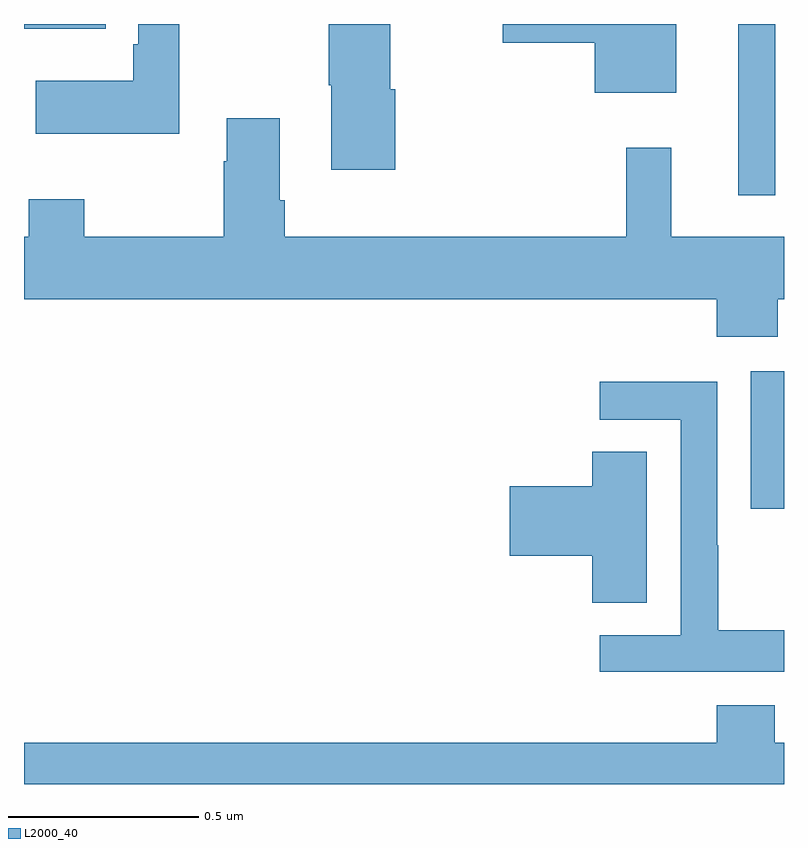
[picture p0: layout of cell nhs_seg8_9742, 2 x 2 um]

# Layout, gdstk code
import gdstk
lib = gdstk.Library(unit=1e-6, precision=1e-09)
def R(c, l, rs):  # rectangles x0, y0, x1, y1
    for r in rs: c.add(gdstk.rectangle(r[:2], r[2:], *l))
def P(c, l, *ps):  # polygons
    for p in ps: c.add(gdstk.Polygon(p, *l))
L2000_40 = (2000, 40)

nhs_seg8_9742 = lib.new_cell('nhs_seg8_9742')
R(nhs_seg8_9742, L2000_40, [(241.913,1106.625,242,1106.986), (241.88,1107.45,241.977,1107.9), (240,1107.887,240.215,1107.9)])
P(nhs_seg8_9742, L2000_40, [(240.409,1107.9),(240.3,1107.9),(240.3,1107.847),(240.288,1107.847),(240.288,1107.751),(240.031,1107.751),(240.031,1107.611),(240.409,1107.611)],
  [(240.977,1107.728),(240.964,1107.728),(240.964,1107.9),(240.802,1107.9),(240.802,1107.739),(240.809,1107.739),(240.809,1107.516),(240.977,1107.516)],
  [(241.717,1107.9),(241.26,1107.9),(241.26,1107.851),(241.502,1107.851),(241.502,1107.719),(241.717,1107.719)],
  [(241.983,1107.176),(242,1107.176),(242,1107.34),(241.703,1107.34),(241.703,1107.574),(241.585,1107.574),(241.585,1107.34),(240.686,1107.34),(240.686,1107.436),(240.673,1107.436),(240.673,1107.652),(240.533,1107.652),(240.533,1107.539),(240.526,1107.539),(240.526,1107.34),(240.159,1107.34),(240.159,1107.439),(240.012,1107.439),(240.012,1107.34),(240,1107.34),(240,1107.176),(241.823,1107.176),(241.823,1107.077),(241.983,1107.077)],
  [(242,1106.305),(241.827,1106.305),(241.827,1106.528),(241.824,1106.528),(241.824,1106.958),(241.515,1106.958),(241.515,1106.859),(241.728,1106.859),(241.728,1106.292),(241.515,1106.292),(241.515,1106.196),(242,1106.196)],
  [(241.639,1106.774),(241.496,1106.774),(241.496,1106.684),(241.278,1106.684),(241.278,1106.501),(241.496,1106.501),(241.496,1106.377),(241.639,1106.377)],
  [(242,1106.008),(241.975,1106.008),(241.975,1106.107),(241.823,1106.107),(241.823,1106.008),(240,1106.008),(240,1105.9),(242,1105.9)])

lib.write_gds('nhs_seg8_9742.gds')
